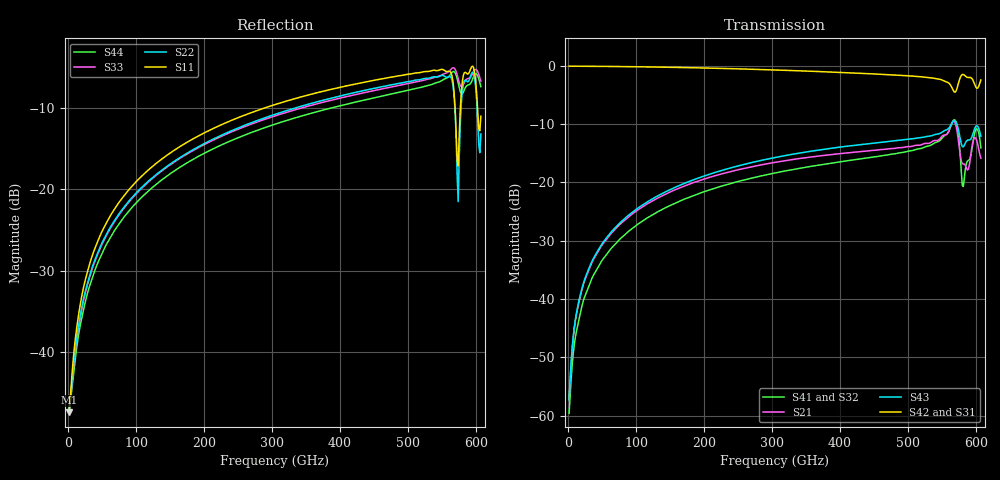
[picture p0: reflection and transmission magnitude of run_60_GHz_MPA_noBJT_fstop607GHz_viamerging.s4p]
#  Hz  S  RI  R  50
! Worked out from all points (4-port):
!   400 points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, 1.518 GHz to 607 GHz, reference 50 ohm
!   strongest paths, dB at 1.518 GHz, 153.3 GHz, 305 GHz, 456.8 GHz, 607 GHz:
!     S42: 0.0, -0.2, -0.7, -1.4, -2.4
!     S31: 0.0, -0.3, -0.8, -1.7, -2.6
!     S43: -57.3, -21.0, -15.7, -13.1, -12.1
!     S21: -57.2, -21.4, -16.5, -14.4, -15.8
!     S41: -59.6, -23.8, -18.3, -15.5, -14.1
!     S32: -59.6, -23.8, -18.3, -15.5, -14.8
!   lowest |S11| = -47.4 dB at 1.518 GHz (marker M1), VSWR 1.01, Z = 50.4 - j0.153 ohm
!   |S11| at or under -10 dB: start of sweep to 289.9 GHz; 569.1 GHz to 576.9 GHz (7.781 GHz wide, 1.36 % of centre); 602 GHz to end of sweep
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1.5175e9  0.00397 -0.00151  0.0011 0.000817  0.9959 -0.00457  -0.00109 0.000707
          0.0011 0.000817  0.00413 -0.00123  -0.000943 0.00057  0.9959 -0.00456
          0.9959 -0.00453  -0.000908 0.000531  0.00401 -0.00124  0.000919 0.001
          -0.000905 0.000524  0.9957 -0.00438  0.00103 0.0009  0.0043 -0.00116
2.88325e10  0.000415 -0.0315  0.00396 0.0163  0.9904 -0.083  0.000186 0.0126
            0.00396 0.0163  0.00136 -0.0267  0.000198 0.0124  0.9905 -0.0803
            0.9902 -0.0829  0.000207 0.0122  0.00457 -0.0258  0.00211 0.0173
            0.000225 0.0121  0.9904 -0.08  0.00217 0.0171  0.00496 -0.0227
1.168475e11  -0.0689 -0.1101  0.0406 0.0518  0.9281 -0.3204  0.0224 0.0453
             0.0406 0.0518  -0.0571 -0.0949  0.0222 0.0456  0.933 -0.31
             0.9258 -0.3193  0.0219 0.0449  -0.00696 -0.1093  0.0159 0.0663
             0.0222 0.0446  0.9315 -0.3093  0.016 0.0665  -0.00364 -0.0963
5.61475e11  -0.0585 0.5259  -0.16 -0.2462  0.00712 -0.7009  0.195 -0.2317
            -0.16 -0.2461  -0.053 0.4898  0.1934 -0.2265  0.0288 -0.7233
            0.0369 -0.6657  0.1921 -0.2052  -0.3396 -0.4148  0.2422 0.1731
            0.193 -0.2157  0.0471 -0.6955  0.2477 0.1716  -0.2925 -0.4069
5.73615e11  -0.086 0.1095  -0.1435 0.1901  0.2158 -0.6766  -0.0555 -0.2654
            -0.1434 0.1901  -0.0464 0.0699  -0.0467 -0.2511  0.2442 -0.6744
            0.24 -0.6416  -0.0333 -0.2463  -0.3752 -0.295  0.2834 0.0496
            -0.0452 -0.2622  0.2587 -0.648  0.2864 0.046  -0.349 -0.2818
5.8272e11  -0.3266 0.4042  0.118 -0.082  0.0807 -0.8355  0.0637 -0.0965
           0.118 -0.082  -0.3124 0.3428  0.0715 -0.0938  0.1196 -0.853
           0.108 -0.7948  0.0692 -0.0875  -0.2888 -0.3481  0.1856 0.0919
           0.0608 -0.0923  0.1355 -0.8228  0.1889 0.0902  -0.2457 -0.3258
6.07e11  -0.2045 0.1919  0.00539 0.1615  0.1527 -0.7535  -0.0704 -0.1875
         0.00546 0.1614  -0.1734 0.1323  -0.0591 -0.1778  0.1892 -0.7568
         0.1814 -0.7163  -0.0496 -0.1761  -0.3543 -0.2954  0.2441 0.0341
         -0.0642 -0.1873  0.2075 -0.7287  0.2471 0.0306  -0.3245 -0.2762
